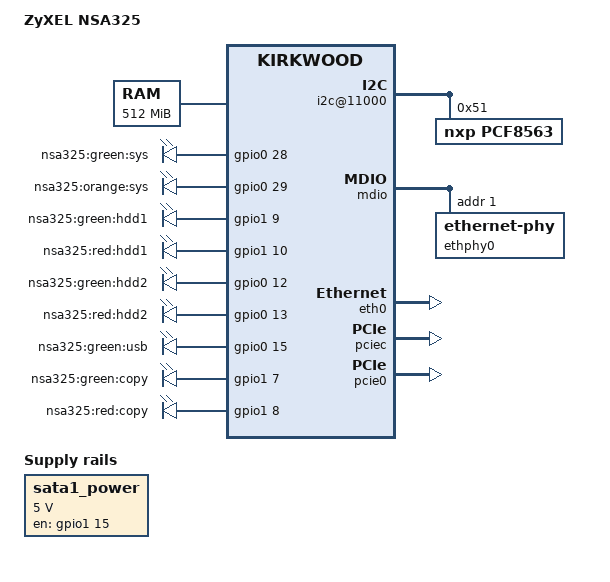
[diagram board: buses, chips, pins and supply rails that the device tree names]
// SPDX-License-Identifier: GPL-2.0+
/* Device tree file for the Zyxel NSA 325 NAS box.
 *
 * Copyright (c) 2015, Hans Ulli Kroll <ulli.kroll@googlemail.com>
 *
 *
 * Based upon the board setup file created by Peter Schildmann
 */

/dts-v1/;

#include "kirkwood-nsa3x0-common.dtsi"

/ {
	model = "ZyXEL NSA325";
	compatible = "zyxel,nsa325", "marvell,kirkwood-88f6282", "marvell,kirkwood";

	memory {
		device_type = "memory";
		reg = <0x00000000 0x20000000>;
	};

	chosen {
		bootargs = "console=ttyS0,115200";
		stdout-path = &uart0;
	};

	ocp@f1000000 {
		pinctrl: pin-controller@10000 {
			pinctrl-names = "default";

			pmx_led_hdd2_green: pmx-led-hdd2-green {
				marvell,pins = "mpp12";
				marvell,function = "gpio";
			};

			pmx_led_hdd2_red: pmx-led-hdd2-red {
				marvell,pins = "mpp13";
				marvell,function = "gpio";
			};

			pmx_mcu_data: pmx-mcu-data {
				marvell,pins = "mpp14";
				marvell,function = "gpio";
			};

			pmx_led_usb_green: pmx-led-usb-green {
				marvell,pins = "mpp15";
				marvell,function = "gpio";
			};

			pmx_mcu_clk: pmx-mcu-clk {
				marvell,pins = "mpp16";
				marvell,function = "gpio";
			};

			pmx_mcu_act: pmx-mcu-act {
				marvell,pins = "mpp17";
				marvell,function = "gpio";
			};

			pmx_led_sys_green: pmx-led-sys-green {
				marvell,pins = "mpp28";
				marvell,function = "gpio";
			};

			pmx_led_sys_orange: pmx-led-sys-orange {
				marvell,pins = "mpp29";
				marvell,function = "gpio";
			};

			pmx_led_hdd1_green: pmx-led-hdd1-green {
				marvell,pins = "mpp41";
				marvell,function = "gpio";
			};

			pmx_led_hdd1_red: pmx-led-hdd1-red {
				marvell,pins = "mpp42";
				marvell,function = "gpio";
			};

			pmx_htp: pmx-htp {
				marvell,pins = "mpp43";
				marvell,function = "gpio";
			};

			/*
			 * Buzzer needs to be switched at around 1kHz so is
			 * not compatible with the gpio-beeper driver.
			 */
			pmx_buzzer: pmx-buzzer {
				marvell,pins = "mpp44";
				marvell,function = "gpio";
			};

			pmx_vid_b1: pmx-vid-b1 {
				marvell,pins = "mpp45";
				marvell,function = "gpio";
			};

			pmx_power_resume_data: pmx-power-resume-data {
				marvell,pins = "mpp47";
				marvell,function = "gpio";
			};

			pmx_power_resume_clk: pmx-power-resume-clk {
				marvell,pins = "mpp49";
				marvell,function = "gpio";
			};

			pmx_pwr_sata1: pmx-pwr-sata1 {
				marvell,pins = "mpp47";
				marvell,function = "gpio";
			};
		};

		/* This board uses the pcf8563 RTC instead of the SoC RTC */
		rtc@10300 {
			status = "disabled";
		};

		i2c@11000 {
			status = "okay";

			pcf8563: pcf8563@51 {
				compatible = "nxp,pcf8563";
				reg = <0x51>;
			};
		};
	};

	regulators {
		compatible = "simple-bus";
		#address-cells = <1>;
		#size-cells = <0>;
		pinctrl-0 = <&pmx_pwr_sata1>;
		pinctrl-names = "default";

		usb0_power: regulator@1 {
			enable-active-high;
		};

		sata1_power: regulator@2 {
			compatible = "regulator-fixed";
			reg = <2>;
			regulator-name = "SATA1 Power";
			regulator-min-microvolt = <5000000>;
			regulator-max-microvolt = <5000000>;
			regulator-always-on;
			regulator-boot-on;
			enable-active-high;
			gpio = <&gpio1 15 GPIO_ACTIVE_HIGH>;
		};
	};

	gpio-leds {
		compatible = "gpio-leds";
		pinctrl-0 = <&pmx_led_hdd2_green &pmx_led_hdd2_red
			     &pmx_led_usb_green
			     &pmx_led_sys_green &pmx_led_sys_orange
			     &pmx_led_copy_green &pmx_led_copy_red
			     &pmx_led_hdd1_green &pmx_led_hdd1_red>;
		pinctrl-names = "default";

		green-sys {
			label = "nsa325:green:sys";
			gpios = <&gpio0 28 GPIO_ACTIVE_HIGH>;
		};
		orange-sys {
			label = "nsa325:orange:sys";
			gpios = <&gpio0 29 GPIO_ACTIVE_HIGH>;
		};
		green-hdd1 {
			label = "nsa325:green:hdd1";
			gpios = <&gpio1 9 GPIO_ACTIVE_HIGH>;
		};
		red-hdd1 {
			label = "nsa325:red:hdd1";
			gpios = <&gpio1 10 GPIO_ACTIVE_HIGH>;
		};
		green-hdd2 {
			label = "nsa325:green:hdd2";
			gpios = <&gpio0 12 GPIO_ACTIVE_HIGH>;
		};
		red-hdd2 {
			label = "nsa325:red:hdd2";
			gpios = <&gpio0 13 GPIO_ACTIVE_HIGH>;
		};
		green-usb {
			label = "nsa325:green:usb";
			gpios = <&gpio0 15 GPIO_ACTIVE_HIGH>;
		};
		green-copy {
			label = "nsa325:green:copy";
			gpios = <&gpio1 7 GPIO_ACTIVE_HIGH>;
		};
		red-copy {
			label = "nsa325:red:copy";
			gpios = <&gpio1 8 GPIO_ACTIVE_HIGH>;
		};

	/* The following pins are currently not assigned to a driver,
	   some of them should be configured as inputs.
	pinctrl-0 = <&pmx_mcu_data &pmx_mcu_clk &pmx_mcu_act
		     &pmx_htp &pmx_vid_b1
		     &pmx_power_resume_data &pmx_power_resume_clk>; */
	};


};

&mdio {
	status = "okay";
	ethphy0: ethernet-phy@1 {
		reg = <1>;
	};
};

&eth0 {
	status = "okay";
	ethernet0-port@0 {
		phy-handle = <&ethphy0>;
	};
};

&pciec {
	status = "okay";
};

&pcie0 {
	status = "okay";
};
